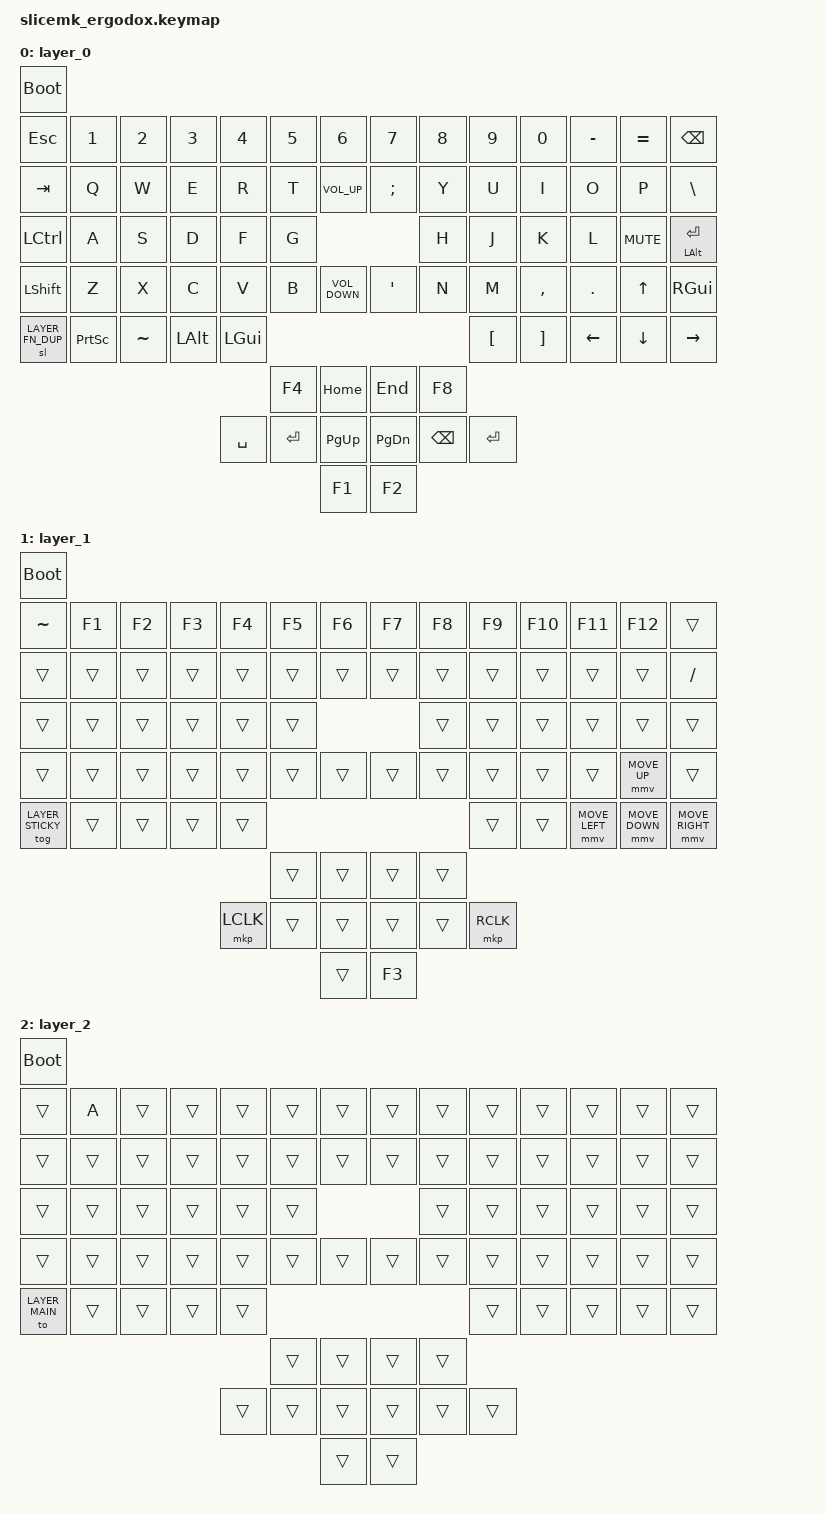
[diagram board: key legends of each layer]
#include <behaviors.dtsi>
#include <dt-bindings/zmk/bt.h>
#include <dt-bindings/zmk/keys.h>
#include <dt-bindings/zmk/mouse.h>
#include <dt-bindings/zmk/outputs.h>
#include <dt-bindings/zmk/rgb.h>

#define LAYER_MAIN 0
#define LAYER_FN_DUP 1
#define LAYER_STICKY 2



/ {
	keymap {
		compatible = "zmk,keymap";
		layer_0 {
			bindings = <
				&bootloader
				&kp ESCAPE       &kp NUMBER_1    &kp NUMBER_2 &kp NUMBER_3 &kp NUMBER_4 &kp NUMBER_5 &kp NUMBER_6      &kp NUMBER_7     &kp NUMBER_8  &kp NUMBER_9     &kp NUMBER_0      &kp MINUS      &kp EQUAL      &kp BACKSPACE
				&kp TAB          &kp Q           &kp W        &kp E        &kp R        &kp T        &kp C_VOLUME_UP   &kp SEMICOLON    &kp Y         &kp U            &kp I             &kp O          &kp P          &kp BACKSLASH
				&kp LEFT_CONTROL &kp A           &kp S        &kp D        &kp F        &kp G                                           &kp H         &kp J            &kp K             &kp L          &kp C_MUTE     &mt LEFT_ALT RETURN
				&kp LEFT_SHIFT   &kp Z           &kp X        &kp C        &kp V        &kp B        &kp C_VOLUME_DOWN &kp SINGLE_QUOTE &kp N         &kp M            &kp COMMA         &kp PERIOD     &kp UP_ARROW   &kp RIGHT_GUI
				&sl LAYER_FN_DUP &kp PRINTSCREEN &kp TILDE    &kp LEFT_ALT &kp LEFT_GUI                                                               &kp LEFT_BRACKET &kp RIGHT_BRACKET &kp LEFT_ARROW &kp DOWN_ARROW &kp RIGHT_ARROW
				                                                                        &kp F4       &kp HOME          &kp END          &kp F8
				                                                           &kp SPACE    &kp RETURN   &kp PAGE_UP       &kp PAGE_DOWN    &kp BACKSPACE &kp RETURN
				                                                                                     &kp F1            &kp F2
			>;
		};
		layer_1 {
			bindings = <
				&bootloader
				&kp TILDE         &kp F1 &kp F2 &kp F3 &kp F4    &kp F5 &kp F6 &kp F7 &kp F8 &kp F9    &kp F10 &kp F11        &kp F12        &trans
				&trans            &trans &trans &trans &trans    &trans &trans &trans &trans &trans    &trans  &trans         &trans         &kp SLASH
				&trans            &trans &trans &trans &trans    &trans               &trans &trans    &trans  &trans         &trans         &trans
				&trans            &trans &trans &trans &trans    &trans &trans &trans &trans &trans    &trans  &trans         &mmv MOVE_UP   &trans
				&tog LAYER_STICKY &trans &trans &trans &trans                                &trans    &trans  &mmv MOVE_LEFT &mmv MOVE_DOWN &mmv MOVE_RIGHT
				                                                 &trans &trans &trans &trans
				                                       &mkp LCLK &trans &trans &trans &trans &mkp RCLK
				                                                        &trans &kp F3
			>;
		};
		layer_2 {
			bindings = <
				&bootloader
				&trans         &kp A  &trans &trans &trans &trans &trans &trans &trans &trans &trans &trans &trans &trans
				&trans         &trans &trans &trans &trans &trans &trans &trans &trans &trans &trans &trans &trans &trans
				&trans         &trans &trans &trans &trans &trans               &trans &trans &trans &trans &trans &trans
				&trans         &trans &trans &trans &trans &trans &trans &trans &trans &trans &trans &trans &trans &trans
				&to LAYER_MAIN &trans &trans &trans &trans                             &trans &trans &trans &trans &trans
				                                           &trans &trans &trans &trans
				                                    &trans &trans &trans &trans &trans &trans
				                                                  &trans &trans
			>;
		};
	};

};
